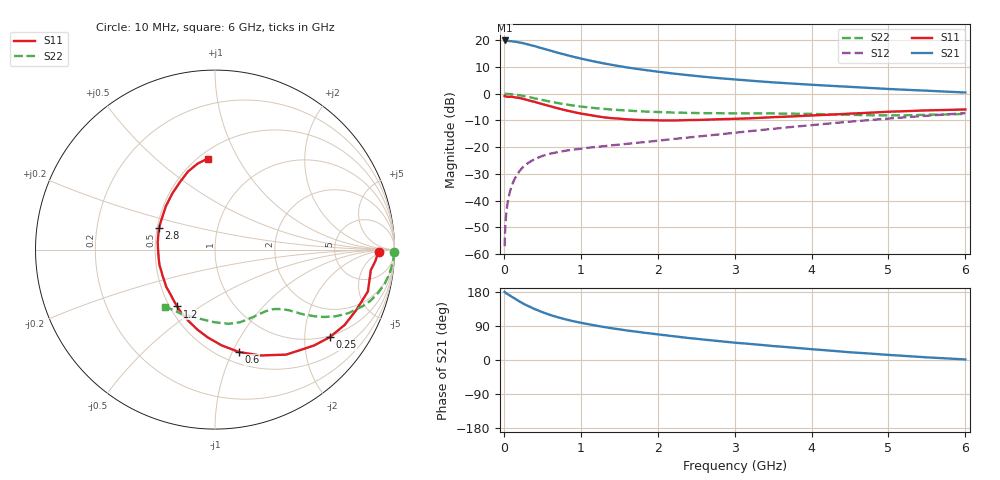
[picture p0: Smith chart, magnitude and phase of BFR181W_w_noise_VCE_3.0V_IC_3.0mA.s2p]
! Infineon Technologies  Discrete & RF Semiconductors
! BFR181W
! VCE =  3.0 V,  IC =  3.0 mA
! Common Emitter S-Parameters:  Jan 2017
# GHz  S  MA  R  50
!  f  S11  S21  S12  S22
! GHz  MAG  ANG  MAG  ANG  MAG  ANG  MAG  ANG
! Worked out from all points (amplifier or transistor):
!   77 points, 10 MHz to 6 GHz, reference 50 ohm
!   highest |S21| = 20.0 dB at 10 MHz (marker M1)
!   |S21| within 3 dB of that: start of sweep to 504.8 MHz
!   unconditionally stable (mu >= 1): 1.601 GHz to 3.726 GHz
!   at 130 MHz: K = 0.10, MSG = 26.1 dB, |S12| = -32.6 dB
!   at 2.2 GHz: K = 1.09, MAG = 10.4 dB, |S12| = -17.0 dB
!   at 6 GHz: K = 0.85, MSG = 3.9 dB, |S12| = -7.3 dB
!   lowest NFmin = 0.87 dB at 450 MHz
!   S11 on the Smith chart (normalised r, x): 10 MHz: 21, -3; 250 MHz: 0.96, -2.65; 600 MHz: 0.61, -1.06; 1.2 GHz: 0.55, -0.40; 2.8 GHz: 0.51, +0.14; 6 GHz: 0.55, +0.76
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0.01  0.9119 -0.7  9.962 179.8  0.0014 87.9  0.9997 -0.8
0.02  0.8951 -4.2  9.895 177.5  0.0036 97.9  0.9976 -1.4
0.03  0.8883 -5.3  9.854 176.3  0.0054 90.4  0.9962 -2.2
0.07  0.8767 -10.6  9.705 171.2  0.0129 83.6  0.9886 -5.4
0.15  0.856 -23.2  9.43 161.2  0.0269 77.2  0.9638 -11.5
0.25  0.8042 -37.4  8.866 149.2  0.0425 69.8  0.9127 -18.1
0.3  0.768 -44.1  8.502 143.9  0.0489 66.3  0.8819 -20.9
0.4  0.7066 -55.9  7.808 134.4  0.0596 61.2  0.822 -25.6
0.5  0.6414 -66.9  7.084 126.3  0.0685 56.6  0.7652 -29.1
0.6  0.5855 -76.9  6.451 119.1  0.0754 54.0  0.7143 -31.7
0.7  0.535 -86.0  5.869 112.9  0.0806 52.2  0.6705 -33.7
0.8  0.492 -94.5  5.386 107.4  0.0858 50.6  0.6335 -35.2
0.9  0.4569 -102.3  4.943 102.5  0.0898 49.9  0.6035 -36.5
1.1  0.4037 -116.8  4.245 94.4  0.0977 49.4  0.556 -38.4
1.2  0.3809 -123.7  3.957 90.6  0.1009 49.2  0.5364 -39.2
1.6  0.3318 -148.2  3.116 77.9  0.1155 51.1  0.4865 -42.9
2.1  0.3166 -173.9  2.492 65.3  0.1369 53.8  0.4503 -49.0
2.8  0.3344 158.8  1.958 49.8  0.1733 56.5  0.4324 -59.8
3.1  0.343 149.7  1.809 44.1  0.1929 56.7  0.4287 -64.4
4.1  0.398 125.2  1.448 27.0  0.2667 54.5  0.4159 -81.8
5.1  0.4657 107.3  1.211 12.2  0.352 48.1  0.3942 -106.9
6  0.5084 94.6  1.056 1.4  0.4336 40.2  0.4206 -131.0
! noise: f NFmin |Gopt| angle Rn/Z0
0.45  0.87  0.47  17  0.27
0.9  0.93  0.42  32  0.26
1.9  1.34  0.24  80  0.21
2.4  1.55  0.21  94  0.23
